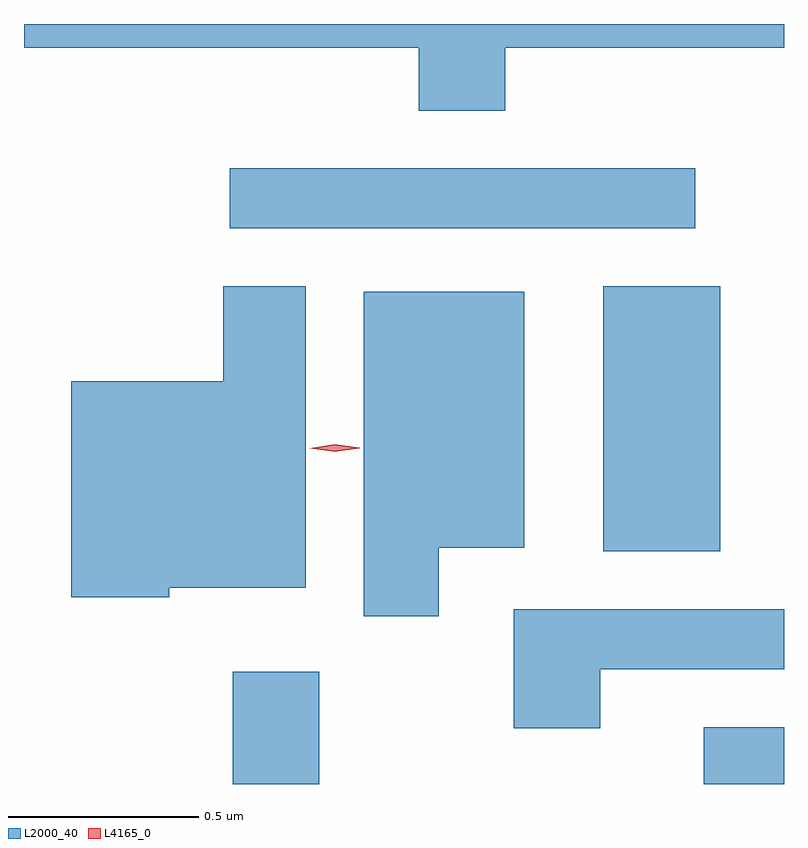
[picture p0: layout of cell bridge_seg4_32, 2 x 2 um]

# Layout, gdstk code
import gdstk
lib = gdstk.Library(unit=1e-6, precision=1e-09)
def R(c, l, rs):  # rectangles x0, y0, x1, y1
    for r in rs: c.add(gdstk.rectangle(r[:2], r[2:], *l))
def P(c, l, *ps):  # polygons
    for p in ps: c.add(gdstk.Polygon(p, *l))
L2000_40 = (2000, 40)
L4165_0 = (4165, 0)

bridge_seg4_32 = lib.new_cell('bridge_seg4_32')
R(bridge_seg4_32, L2000_40, [(1242.441,1283.919,1242.669,1284.214), (1243.681,1283.919,1243.892,1284.069), (1243.416,1284.531,1243.724,1285.229), (1242.433,1285.381,1243.658,1285.539)])
P(bridge_seg4_32, L2000_40, [(1243.159,1285.856),(1243.892,1285.856),(1243.892,1285.919),(1241.892,1285.919),(1241.892,1285.856),(1242.931,1285.856),(1242.931,1285.691),(1243.159,1285.691)],
  [(1242.274,1284.436),(1242.634,1284.436),(1242.634,1285.229),(1242.416,1285.229),(1242.416,1284.979),(1242.016,1284.979),(1242.016,1284.411),(1242.274,1284.411)],
  [(1242.984,1284.541),(1243.209,1284.541),(1243.209,1285.214),(1242.786,1285.214),(1242.786,1284.361),(1242.984,1284.361)],
  [(1243.409,1284.221),(1243.892,1284.221),(1243.892,1284.379),(1243.181,1284.379),(1243.181,1284.066),(1243.409,1284.066)])
P(bridge_seg4_32, L4165_0, [(1242.71,1284.793),(1242.644,1284.802),(1242.644,1284.802),(1242.644,1284.803),(1242.71,1284.813),(1242.775,1284.804),(1242.776,1284.803),(1242.775,1284.803)])

lib.write_gds('bridge_seg4_32.gds')
